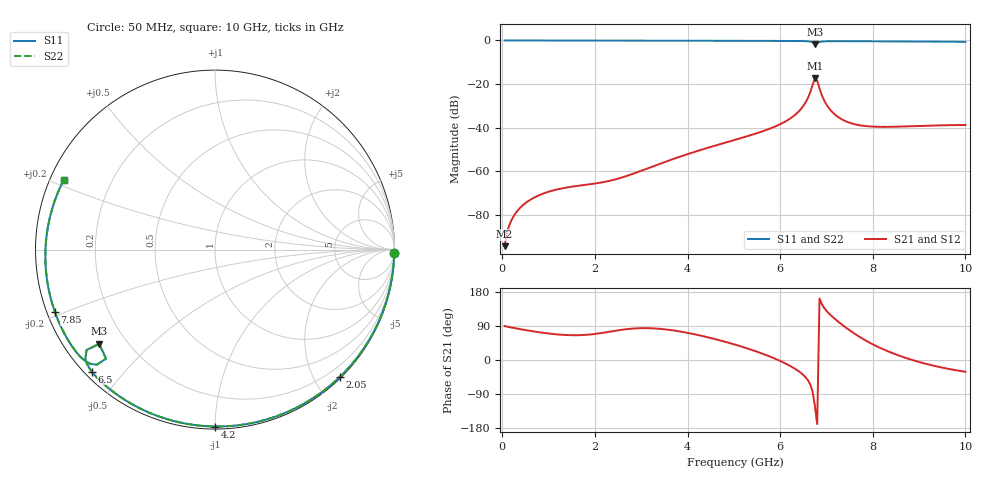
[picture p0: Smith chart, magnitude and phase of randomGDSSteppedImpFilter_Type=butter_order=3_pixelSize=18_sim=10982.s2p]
! freq	dB(S11)	phase(S11)	dB(S12)	phase(S12)
!  dB(S21)	phase(S21)	dB(S22)	phase(S22)
!S-par simulation data
#  GHz  S  DB  R 50
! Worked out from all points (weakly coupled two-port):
!   200 points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, 50 MHz to 10 GHz, reference 50 ohm
!   highest |S21| = -17.32 dB at 6.75 GHz (marker M1); lowest = -94.3 dB at 50 MHz (marker M2)
!   lowest |S11| = -1.6 dB at 6.75 GHz (marker M3), VSWR 10.86, Z = 5.18 - j17.6 ohm
!   |S11| at or under -10 dB: nowhere
!   |S22| runs from -1.6 to 0.0 dB; largest |S21 - S12| = 0
!   S11 on the Smith chart (normalised r, x): 50 MHz: open; 2.05 GHz: 0.02, -2.38; 4.2 GHz: 0.01, -1.00; 6.5 GHz: 0.02, -0.41; 7.85 GHz: 0.02, -0.19; 10 GHz: 0.04, +0.22
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0.05  -0.01 -1.1  -94.27 89.6  -94.27 89.6  -0.01 -1.1
0.25  -0.01 -5.7  -80.35 84.5  -80.35 84.5  -0.01 -5.7
0.5  -0.02 -11.3  -74.53 79.0  -74.53 79.0  -0.02 -11.3
0.85  -0.02 -19.2  -70.44 72.3  -70.44 72.3  -0.02 -19.2
1.75  -0.05 -39.1  -66.29 65.9  -66.29 65.9  -0.05 -39.1
2.05  -0.06 -45.6  -65.42 69.5  -65.42 69.5  -0.06 -45.6
3.4  -0.10 -73.8  -56.55 82.3  -56.55 82.3  -0.10 -73.8
4.2  -0.13 -89.8  -50.74 66.6  -50.74 66.6  -0.13 -89.8
5.05  -0.16 -106.4  -45.39 39.7  -45.39 39.7  -0.16 -106.4
6.05  -0.23 -125.7  -37.86 -5.4  -37.86 -5.4  -0.23 -125.7
6.3  -0.25 -130.7  -34.48 -21.6  -34.48 -21.6  -0.25 -130.7
6.5  -0.30 -135.3  -30.01 -39.4  -30.01 -39.4  -0.30 -135.3
6.6  -0.38 -138.1  -26.33 -53.4  -26.33 -53.4  -0.38 -138.1
6.7  -0.84 -142.0  -20.42 -83.3  -20.42 -83.3  -0.83 -142.0
6.75  -1.60 -140.9  -17.32 -120.7  -17.32 -120.7  -1.60 -140.8
6.8  -1.32 -135.0  -18.44 -169.3  -18.44 -169.3  -1.32 -135.0
6.95  -0.42 -139.3  -27.48 137.5  -27.48 137.5  -0.42 -139.3
7.15  -0.34 -144.3  -33.31 111.8  -33.31 111.8  -0.34 -144.3
7.45  -0.35 -150.6  -37.33 82.8  -37.33 82.8  -0.35 -150.6
7.85  -0.38 -158.6  -39.25 51.2  -39.25 51.2  -0.38 -158.6
8.35  -0.43 -168.7  -39.59 21.8  -39.59 21.8  -0.43 -168.7
10  -0.65 155.2  -38.73 -31.1  -38.73 -31.1  -0.65 155.2
